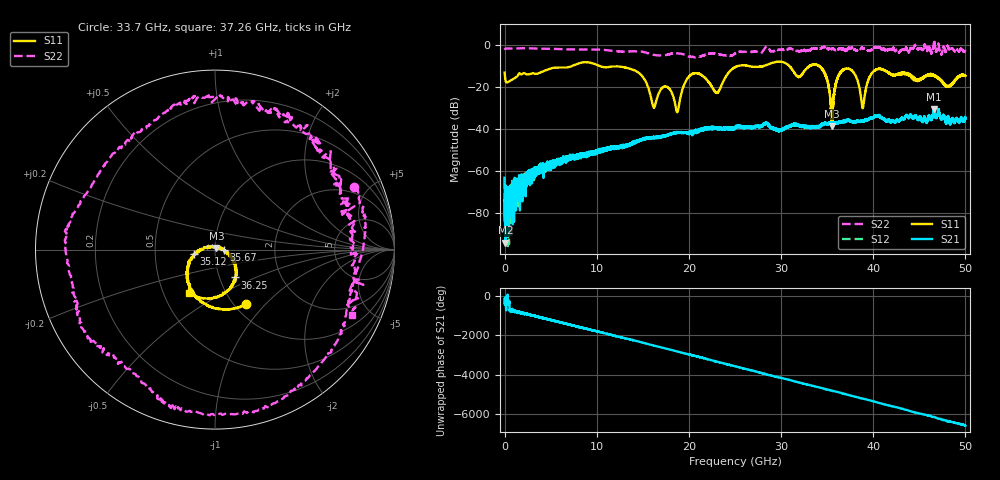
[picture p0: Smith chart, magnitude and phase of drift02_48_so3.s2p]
!Created with skrf (http://scikit-rf.org).
# Hz S RI R 50.0
!freq ReS11 ImS11 ReS21 ImS21 ReS12 ImS12 ReS22 ImS22
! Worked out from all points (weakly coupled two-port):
!   10001 points, 300 kHz to 50 GHz, reference 50 ohm
!   highest |S21| = -30.27 dB at 46.59 GHz (marker M1); lowest = -93.9 dB at 95.3 MHz (marker M2)
!   lowest |S11| = -38.3 dB at 35.54 GHz (marker M3), VSWR 1.02, Z = 50.7 + j0.982 ohm
!   |S11| at or under -10 dB: start of sweep to 7.178 GHz; 12.34 GHz to 25.17 GHz (12.84 GHz wide, 68.4 % of centre); 34.2 GHz to end of sweep (the widest 3 of 11)
!   |S22| runs from -5.7 to 2.4 dB; largest |S21 - S12| = 0.0029
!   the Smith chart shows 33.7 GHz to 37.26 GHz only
!   S11 on the Smith chart (normalised r, x): 33.7 GHz: 1.14, -0.79; 35.12 GHz: 0.79, -0.04; 35.67 GHz: 1.11, -0.00; 36.25 GHz: 1.18, -0.38; 37.26 GHz: 0.67, -0.35
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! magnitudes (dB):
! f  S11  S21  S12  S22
! 300 kHz  -12.9  -63.0  -64.2  -2.1
! 95.3 MHz  -16.6  -93.9  -78.9  -1.5
! 8.335 GHz  -8.2  -51.3  -52.0  -1.9
! 14.03 GHz  -11.8  -46.3  -46.2  -2.8
! 16.15 GHz  -29.3  -44.0  -43.9  -4.5
! 16.67 GHz  -23.3  -43.9  -43.6  -4.7
! 18.74 GHz  -31.7  -41.3  -41.5  -3.7
! 20.24 GHz  -13.9  -41.4  -41.6  -5.5
! 23.04 GHz  -22.6  -38.9  -39.2  -4.1
! 25 GHz  -10.3  -39.3  -39.1  -3.9
! 33.34 GHz  -9.4  -38.7  -38.8  -1.5
! 33.7 GHz  -9.1  -38.5  -38.6  -1.4
! 35.12 GHz  -18.4  -37.3  -37.2  -1.7
! 35.54 GHz  -38.3  -36.8  -36.8  -1.7
! 35.67 GHz  -26.0  -36.9  -36.4  -1.5
! 36.25 GHz  -14.4  -36.3  -36.4  -1.7
! 37.26 GHz  -11.0  -35.6  -35.5  -1.4
! 38.86 GHz  -29.8  -36.1  -36.1  -1.3
! 39.96 GHz  -12.7  -34.7  -34.4  -1.9
! 41.67 GHz  -12.9  -35.7  -35.6  -1.9
! 46.59 GHz  -14.1  -30.3  -30.5  1.9
! 50 GHz  -14.5  -34.8  -34.4  -2.7
